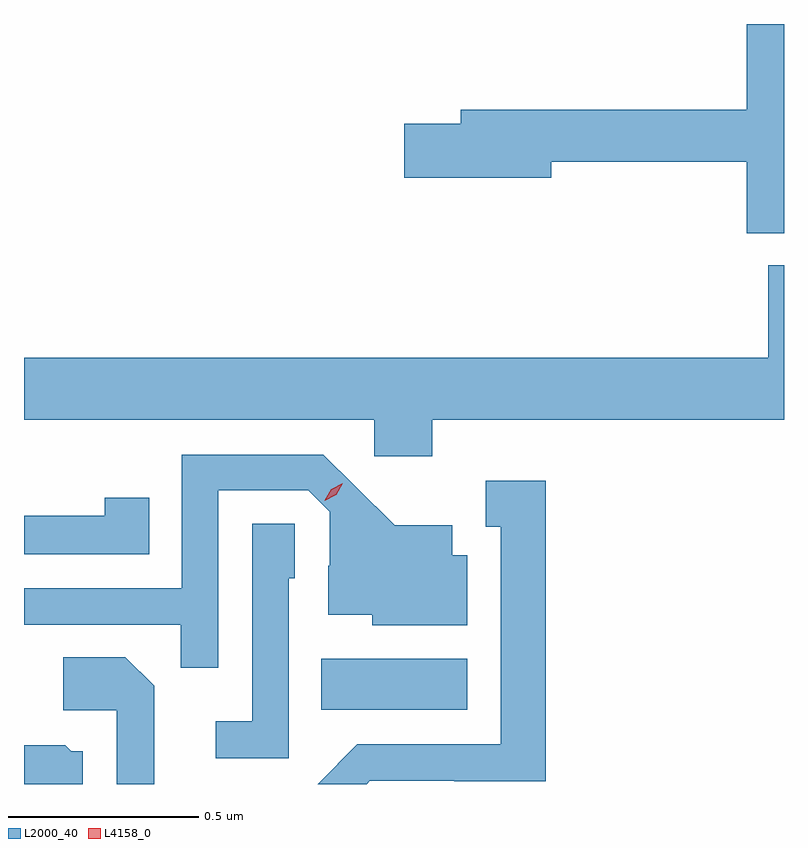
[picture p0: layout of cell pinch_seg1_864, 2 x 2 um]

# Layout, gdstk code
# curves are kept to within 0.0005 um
import gdstk
lib = gdstk.Library(unit=1e-6, precision=1e-09)
def R(c, l, rs):  # rectangles x0, y0, x1, y1
    for r in rs: c.add(gdstk.rectangle(r[:2], r[2:], *l))
def P(c, l, *ps):  # polygons
    for p in ps: c.add(gdstk.Polygon(p, *l))
L2000_40 = (2000, 40)
L4158_0 = (4158, 0)

pinch_seg1_864 = lib.new_cell('pinch_seg1_864')
R(pinch_seg1_864, L2000_40, [(470.59,572.282,470.974,572.416)])
P(pinch_seg1_864, L2000_40, [(471.808,574.086),(471.71,574.086),(471.71,573.86),(470.957,573.86),(470.957,573.824),(470.808,573.824),(470.808,573.682),(471.196,573.682),(471.196,573.724),(471.71,573.724),(471.71,573.536),(471.808,573.536)],
  [(471.808,573.451),(471.767,573.451),(471.767,573.208),(469.808,573.208),(469.808,573.044),(470.73,573.044),(470.73,572.949),(470.882,572.949),(470.882,573.044),(471.808,573.044)],
  [(470.319,572.859),(470.556,572.859),(470.613,572.802),(470.613,572.66),(470.609,572.66),(470.609,572.531),(470.724,572.531),(470.724,572.504),(470.974,572.504),(470.974,572.688),(470.935,572.688),(470.935,572.767),(470.783,572.767),(470.596,572.952),(470.223,572.952),(470.223,572.601),(469.808,572.601),(469.808,572.505),(470.221,572.505),(470.221,572.392),(470.319,572.392)],
  [(470.718,572.094),(470.94,572.094),(470.94,572.093),(471.181,572.093),(471.181,572.884),(471.023,572.884),(471.023,572.763),(471.062,572.763),(471.062,572.19),(470.685,572.19),(470.581,572.086),(470.71,572.086)],
  [(470.138,572.839),(470.02,572.839),(470.02,572.792),(469.808,572.792),(469.808,572.691),(470.138,572.691)],
  [(470.505,572.628),(470.52,572.628),(470.52,572.771),(470.409,572.771),(470.409,572.251),(470.313,572.251),(470.313,572.154),(470.505,572.154)],
  [(470.151,572.344),(470.075,572.42),(469.911,572.42),(469.911,572.28),(470.052,572.28),(470.052,572.086),(470.151,572.086)],
  [(469.963,572.172),(469.932,572.172),(469.916,572.188),(469.808,572.188),(469.808,572.086),(469.963,572.086)])
P(pinch_seg1_864, L4158_0, [(470.599,572.832),(470.599,572.833),(470.616,572.862),(470.647,572.877),(470.647,572.877),(470.647,572.877),(470.63,572.847),(470.599,572.832)])

lib.write_gds('pinch_seg1_864.gds')
